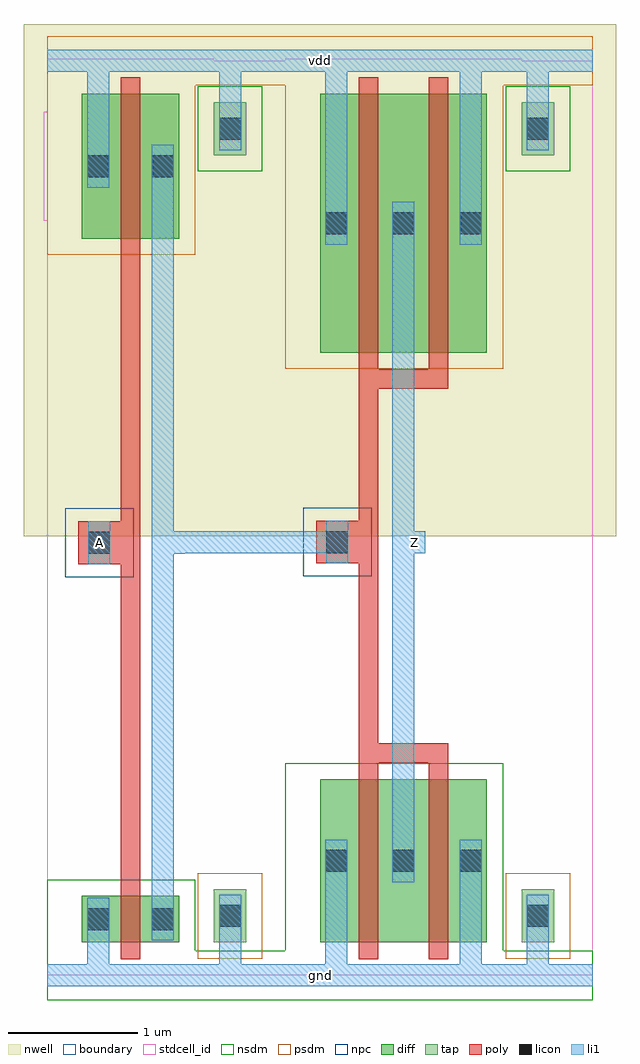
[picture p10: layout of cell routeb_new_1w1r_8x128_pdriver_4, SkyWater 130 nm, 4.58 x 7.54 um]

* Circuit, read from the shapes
.subckt routeb_new_1w1r_8x128_pdriver_4 A Z gnd vdd
XM1 routeb_new_1w1r_8x128_pinv_4_1/A A gnd gnd sky130_fd_pr__nfet_01v8 w=0.36 l=0.15
XM2 Z routeb_new_1w1r_8x128_pinv_4_1/A gnd gnd sky130_fd_pr__nfet_01v8 w=1.26 l=0.15 m=2
XM3 routeb_new_1w1r_8x128_pinv_4_1/A A vdd vdd sky130_fd_pr__pfet_01v8 w=1.12 l=0.15
XM4 Z routeb_new_1w1r_8x128_pinv_4_1/A vdd vdd sky130_fd_pr__pfet_01v8 w=2 l=0.15 m=2
.ends

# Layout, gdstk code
import gdstk
lib = gdstk.Library(unit=1e-6, precision=1e-09)
def R(c, l, rs):  # rectangles x0, y0, x1, y1
    for r in rs: c.add(gdstk.rectangle(r[:2], r[2:], *l))
def A(c, l, x, y, w, h, nx, ny, dx, dy):  # array of equal rectangles
    R(c, l, [(x+i*dx, y+j*dy, x+i*dx+w, y+j*dy+h) for i in range(nx) for j in range(ny)])
nwell = (64, 20)
diff = (65, 20)
tap = (65, 44)
poly = (66, 20)
licon = (66, 44)
li1 = (67, 20)
stdcell_id = (81, 4)
nsdm = (93, 44)
psdm = (94, 20)
npc = (95, 20)
boundary = (235, 4)

routeb_new_1w1r_8x128_co = lib.new_cell('routeb_new_1w1r_8x128_contact_11')
R(routeb_new_1w1r_8x128_co, nwell, [(-0.295,-0.255,0.545,0.585)])
R(routeb_new_1w1r_8x128_co, diff, [(0,0.02,0.25,0.31)])
R(routeb_new_1w1r_8x128_co, licon, [(0.04,0.08,0.21,0.25)])
R(routeb_new_1w1r_8x128_co, li1, [(0.04,0,0.21,0.33)])
R(routeb_new_1w1r_8x128_co, stdcell_id, [(-0.295,-0.255,0.545,0.585)])
R(routeb_new_1w1r_8x128_co, psdm, [(-0.125,-0.105,0.375,0.435)])
R(routeb_new_1w1r_8x128_co, boundary, [(-0.295,-0.255,0.545,0.585)])

routeb_new_1w1r_8x128_pm = lib.new_cell('routeb_new_1w1r_8x128_pmos_m1_w1_120_sli_dli_da_p')
R(routeb_new_1w1r_8x128_pm, nwell, [(-0.27,-0.27,1.02,1.39)])
R(routeb_new_1w1r_8x128_pm, diff, [(0,0,0.75,1.12)])
R(routeb_new_1w1r_8x128_pm, poly, [(0.3,-0.13,0.45,1.25), (0.3,-0.13,0.45,1.25)])
R(routeb_new_1w1r_8x128_pm, li1, [(0.04,0.395,0.21,0.725), (0.54,0.395,0.71,0.725)])
R(routeb_new_1w1r_8x128_pm, stdcell_id, [(-0.27,-0.27,1.02,1.39)])
R(routeb_new_1w1r_8x128_pm, psdm, [(-0.125,-0.125,0.875,1.245)])
R(routeb_new_1w1r_8x128_pm, boundary, [(-0.27,-0.27,1.02,1.39)])
routeb_new_1w1r_8x128_pm.add(gdstk.Reference(routeb_new_1w1r_8x128_co, (0,0.395)))
routeb_new_1w1r_8x128_pm.add(gdstk.Reference(routeb_new_1w1r_8x128_co, (0.5,0.395)))
routeb_new_1w1r_8x128_pm.add(gdstk.Label('G', (0.375,0.56), layer=66, texttype=5))
routeb_new_1w1r_8x128_pm.add(gdstk.Label('S', (0.125,0.56), layer=67, texttype=5))
routeb_new_1w1r_8x128_pm.add(gdstk.Label('D', (0.625,0.56), layer=67, texttype=5))

c_routeb_new_1w1r_8x128_co = lib.new_cell('routeb_new_1w1r_8x128_contact_10')
R(c_routeb_new_1w1r_8x128_co, diff, [(0,0.02,0.25,0.31)])
R(c_routeb_new_1w1r_8x128_co, licon, [(0.04,0.08,0.21,0.25)])
R(c_routeb_new_1w1r_8x128_co, li1, [(0.04,0,0.21,0.33)])
R(c_routeb_new_1w1r_8x128_co, stdcell_id, [(-0.125,-0.105,0.375,0.435)])
R(c_routeb_new_1w1r_8x128_co, nsdm, [(-0.125,-0.105,0.375,0.435)])
R(c_routeb_new_1w1r_8x128_co, boundary, [(-0.125,-0.105,0.375,0.435)])

routeb_new_1w1r_8x128_nm = lib.new_cell('routeb_new_1w1r_8x128_nmos_m1_w0_360_sli_dli_da_p')
R(routeb_new_1w1r_8x128_nm, diff, [(0,0,0.75,0.36)])
R(routeb_new_1w1r_8x128_nm, poly, [(0.3,-0.13,0.45,0.49), (0.3,-0.13,0.45,0.49)])
R(routeb_new_1w1r_8x128_nm, li1, [(0.04,0.015,0.21,0.345), (0.54,0.015,0.71,0.345)])
R(routeb_new_1w1r_8x128_nm, stdcell_id, [(-0.125,-0.13,0.875,0.49)])
R(routeb_new_1w1r_8x128_nm, nsdm, [(-0.125,-0.125,0.875,0.485)])
R(routeb_new_1w1r_8x128_nm, boundary, [(-0.125,-0.13,0.875,0.49)])
routeb_new_1w1r_8x128_nm.add(gdstk.Reference(c_routeb_new_1w1r_8x128_co, (0,0.015)))
routeb_new_1w1r_8x128_nm.add(gdstk.Reference(c_routeb_new_1w1r_8x128_co, (0.5,0.015)))
routeb_new_1w1r_8x128_nm.add(gdstk.Label('G', (0.375,0.18), layer=66, texttype=5))
routeb_new_1w1r_8x128_nm.add(gdstk.Label('S', (0.125,0.18), layer=67, texttype=5))
routeb_new_1w1r_8x128_nm.add(gdstk.Label('D', (0.625,0.18), layer=67, texttype=5))

c_routeb_new_1w1r_8x128_co_ = lib.new_cell('routeb_new_1w1r_8x128_contact_24')
R(c_routeb_new_1w1r_8x128_co_, nwell, [(-0.295,-0.215,0.545,0.625)])
R(c_routeb_new_1w1r_8x128_co_, tap, [(0,0,0.25,0.41)])
R(c_routeb_new_1w1r_8x128_co_, licon, [(0.04,0.12,0.21,0.29)])
R(c_routeb_new_1w1r_8x128_co_, li1, [(0.04,0.04,0.21,0.37)])
R(c_routeb_new_1w1r_8x128_co_, stdcell_id, [(-0.295,-0.215,0.545,0.625)])
R(c_routeb_new_1w1r_8x128_co_, nsdm, [(-0.125,-0.125,0.375,0.535)])
R(c_routeb_new_1w1r_8x128_co_, boundary, [(-0.295,-0.215,0.545,0.625)])

c_routeb_new_1w1r_8x128_co__ = lib.new_cell('routeb_new_1w1r_8x128_contact_25')
R(c_routeb_new_1w1r_8x128_co__, tap, [(0,0,0.25,0.41)])
R(c_routeb_new_1w1r_8x128_co__, licon, [(0.04,0.12,0.21,0.29)])
R(c_routeb_new_1w1r_8x128_co__, li1, [(0.04,0.04,0.21,0.37)])
R(c_routeb_new_1w1r_8x128_co__, stdcell_id, [(-0.125,-0.125,0.375,0.535)])
R(c_routeb_new_1w1r_8x128_co__, psdm, [(-0.125,-0.125,0.375,0.535)])
R(c_routeb_new_1w1r_8x128_co__, boundary, [(-0.125,-0.125,0.375,0.535)])

c_routeb_new_1w1r_8x128_co___ = lib.new_cell('routeb_new_1w1r_8x128_contact_15')
R(c_routeb_new_1w1r_8x128_co___, poly, [(0,0,0.33,0.33)])
R(c_routeb_new_1w1r_8x128_co___, licon, [(0.08,0.08,0.25,0.25)])
R(c_routeb_new_1w1r_8x128_co___, li1, [(0.08,0,0.25,0.33)])
R(c_routeb_new_1w1r_8x128_co___, stdcell_id, [(-0.1,-0.1,0.43,0.43)])
R(c_routeb_new_1w1r_8x128_co___, npc, [(-0.1,-0.1,0.43,0.43)])
R(c_routeb_new_1w1r_8x128_co___, boundary, [(-0.1,-0.1,0.43,0.43)])

routeb_new_1w1r_8x128_pi = lib.new_cell('routeb_new_1w1r_8x128_pinv_3')
R(routeb_new_1w1r_8x128_pi, nwell, [(-0.18,3.395,2.02,7.355)])
R(routeb_new_1w1r_8x128_pi, poly, [(0.57,0.745,0.72,5.565), (0.405,3.18,0.57,3.51)])
R(routeb_new_1w1r_8x128_pi, li1, [(0,-0.085,1.84,0.085), (0.31,-0.085,0.48,0.27), (1.33,0,1.5,0.46), (0.81,0.27,0.98,6.42), (0.32,3.18,0.49,3.51), (0.895,3.26,1.065,3.43), (0.31,6.09,0.48,7.155), (1.33,6.545,1.5,7.07), (0,6.985,1.84,7.155)])
R(routeb_new_1w1r_8x128_pi, stdcell_id, [(0,0,1.84,7.07), (0,0,1.84,7.07)])
R(routeb_new_1w1r_8x128_pi, nsdm, [(0,-0.19,1.84,0.19), (0,0,1.145,0.74)])
R(routeb_new_1w1r_8x128_pi, psdm, [(0,5.57,1.145,7.07), (0,6.88,1.84,7.26)])
R(routeb_new_1w1r_8x128_pi, boundary, [(0,0,1.84,7.07), (0,0,1.84,7.07)])
routeb_new_1w1r_8x128_pi.add(gdstk.Reference(routeb_new_1w1r_8x128_pm, (0.27,5.695)))
routeb_new_1w1r_8x128_pi.add(gdstk.Reference(routeb_new_1w1r_8x128_nm, (0.27,0.255)))
routeb_new_1w1r_8x128_pi.add(gdstk.Reference(c_routeb_new_1w1r_8x128_co_, (1.29,6.34)))
routeb_new_1w1r_8x128_pi.add(gdstk.Reference(c_routeb_new_1w1r_8x128_co__, (1.29,0.255)))
routeb_new_1w1r_8x128_pi.add(gdstk.Reference(c_routeb_new_1w1r_8x128_co___, (0.24,3.18)))
routeb_new_1w1r_8x128_pi.add(gdstk.Label('A', (0.405,3.345), layer=67, texttype=5))
routeb_new_1w1r_8x128_pi.add(gdstk.Label('Z', (0.98,3.345), layer=67, texttype=5))
routeb_new_1w1r_8x128_pi.add(gdstk.Label('gnd', (0.92,0), layer=67, texttype=5))
routeb_new_1w1r_8x128_pi.add(gdstk.Label('vdd', (0.92,7.07), layer=67, texttype=5))

c_routeb_new_1w1r_8x128_pm = lib.new_cell('routeb_new_1w1r_8x128_pmos_m2_w2_000_sli_dli_da_p')
R(c_routeb_new_1w1r_8x128_pm, nwell, [(-0.27,-0.27,1.56,2.27)])
R(c_routeb_new_1w1r_8x128_pm, diff, [(0,0,1.29,2)])
R(c_routeb_new_1w1r_8x128_pm, poly, [(0.3,-0.28,0.99,-0.13), (0.3,-0.13,0.45,2.13), (0.84,-0.13,0.99,2.13)])
A(c_routeb_new_1w1r_8x128_pm, li1, 0.04, 0.835, 0.17, 0.33, 3, 1, 0.52, 0)
R(c_routeb_new_1w1r_8x128_pm, stdcell_id, [(-0.27,-0.28,1.56,2.27)])
R(c_routeb_new_1w1r_8x128_pm, psdm, [(-0.125,-0.125,1.415,2.125)])
R(c_routeb_new_1w1r_8x128_pm, boundary, [(-0.27,-0.28,1.56,2.27)])
c_routeb_new_1w1r_8x128_pm.add(gdstk.Reference(routeb_new_1w1r_8x128_co, (0,0.835)))
c_routeb_new_1w1r_8x128_pm.add(gdstk.Reference(routeb_new_1w1r_8x128_co, (0.52,0.835)))
c_routeb_new_1w1r_8x128_pm.add(gdstk.Reference(routeb_new_1w1r_8x128_co, (1.04,0.835)))
c_routeb_new_1w1r_8x128_pm.add(gdstk.Label('G', (0.645,-0.205), layer=66, texttype=5))
c_routeb_new_1w1r_8x128_pm.add(gdstk.Label('S', (1.165,1), layer=67, texttype=5))
c_routeb_new_1w1r_8x128_pm.add(gdstk.Label('S', (0.125,1), layer=67, texttype=5))
c_routeb_new_1w1r_8x128_pm.add(gdstk.Label('D', (0.645,1), layer=67, texttype=5))

c_routeb_new_1w1r_8x128_nm = lib.new_cell('routeb_new_1w1r_8x128_nmos_m2_w1_260_sli_dli_da_p')
R(c_routeb_new_1w1r_8x128_nm, diff, [(0,0,1.29,1.26)])
R(c_routeb_new_1w1r_8x128_nm, poly, [(0.3,-0.13,0.45,1.39), (0.84,-0.13,0.99,1.39), (0.3,1.39,0.99,1.54)])
A(c_routeb_new_1w1r_8x128_nm, li1, 0.04, 0.465, 0.17, 0.33, 3, 1, 0.52, 0)
R(c_routeb_new_1w1r_8x128_nm, stdcell_id, [(-0.125,-0.13,1.415,1.54)])
R(c_routeb_new_1w1r_8x128_nm, nsdm, [(-0.125,-0.125,1.415,1.385)])
R(c_routeb_new_1w1r_8x128_nm, boundary, [(-0.125,-0.13,1.415,1.54)])
c_routeb_new_1w1r_8x128_nm.add(gdstk.Reference(c_routeb_new_1w1r_8x128_co, (0,0.465)))
c_routeb_new_1w1r_8x128_nm.add(gdstk.Reference(c_routeb_new_1w1r_8x128_co, (0.52,0.465)))
c_routeb_new_1w1r_8x128_nm.add(gdstk.Reference(c_routeb_new_1w1r_8x128_co, (1.04,0.465)))
c_routeb_new_1w1r_8x128_nm.add(gdstk.Label('G', (0.645,1.465), layer=66, texttype=5))
c_routeb_new_1w1r_8x128_nm.add(gdstk.Label('S', (0.125,0.63), layer=67, texttype=5))
c_routeb_new_1w1r_8x128_nm.add(gdstk.Label('S', (1.165,0.63), layer=67, texttype=5))
c_routeb_new_1w1r_8x128_nm.add(gdstk.Label('D', (0.645,0.63), layer=67, texttype=5))

c_routeb_new_1w1r_8x128_pi = lib.new_cell('routeb_new_1w1r_8x128_pinv_4')
R(c_routeb_new_1w1r_8x128_pi, nwell, [(-0.18,3.395,2.56,7.355)])
R(c_routeb_new_1w1r_8x128_pi, poly, [(0.57,1.795,0.72,4.535), (0.405,3.185,0.57,3.515)])
R(c_routeb_new_1w1r_8x128_pi, li1, [(0,-0.085,2.38,0.085), (0.31,-0.085,0.48,0.72), (1.35,-0.085,1.52,0.72), (1.87,0,2.04,0.46), (0.83,0.72,1,5.98), (0.32,3.185,0.49,3.515), (0.915,3.265,1.085,3.435), (0.31,5.65,0.48,7.155), (1.35,5.65,1.52,7.155), (1.87,6.545,2.04,7.07), (0,6.985,2.38,7.155)])
R(c_routeb_new_1w1r_8x128_pi, stdcell_id, [(0,0,2.38,7.07), (0,0,2.38,7.07)])
R(c_routeb_new_1w1r_8x128_pi, nsdm, [(0,-0.19,2.38,0.19), (0,0,1.685,1.64)])
R(c_routeb_new_1w1r_8x128_pi, psdm, [(0,4.69,1.685,7.07), (0,6.88,2.38,7.26)])
R(c_routeb_new_1w1r_8x128_pi, boundary, [(0,0,2.38,7.07), (0,0,2.38,7.07)])
c_routeb_new_1w1r_8x128_pi.add(gdstk.Reference(c_routeb_new_1w1r_8x128_pm, (0.27,4.815)))
c_routeb_new_1w1r_8x128_pi.add(gdstk.Reference(c_routeb_new_1w1r_8x128_nm, (0.27,0.255)))
c_routeb_new_1w1r_8x128_pi.add(gdstk.Reference(c_routeb_new_1w1r_8x128_co_, (1.83,6.34)))
c_routeb_new_1w1r_8x128_pi.add(gdstk.Reference(c_routeb_new_1w1r_8x128_co__, (1.83,0.255)))
c_routeb_new_1w1r_8x128_pi.add(gdstk.Reference(c_routeb_new_1w1r_8x128_co___, (0.24,3.185)))
c_routeb_new_1w1r_8x128_pi.add(gdstk.Label('A', (0.405,3.35), layer=67, texttype=5))
c_routeb_new_1w1r_8x128_pi.add(gdstk.Label('Z', (1,3.35), layer=67, texttype=5))
c_routeb_new_1w1r_8x128_pi.add(gdstk.Label('gnd', (1.19,0), layer=67, texttype=5))
c_routeb_new_1w1r_8x128_pi.add(gdstk.Label('vdd', (1.19,7.07), layer=67, texttype=5))

routeb_new_1w1r_8x128_pd = lib.new_cell('routeb_new_1w1r_8x128_pdriver_4')
R(routeb_new_1w1r_8x128_pd, nwell, [(-0.18,3.395,4.4,7.355)])
R(routeb_new_1w1r_8x128_pd, li1, [(0,-0.085,4.22,0.085), (0.32,3.18,0.49,3.51), (0.895,3.265,1.065,3.435), (0.98,3.265,2.245,3.435), (2.755,3.265,2.925,3.435), (0.895,3.345,1.065,3.35), (0,6.985,4.22,7.155)])
R(routeb_new_1w1r_8x128_pd, stdcell_id, [(0,0,4.22,7.07), (0,0,4.22,7.07)])
R(routeb_new_1w1r_8x128_pd, nsdm, [(0,-0.19,4.22,0.19)])
R(routeb_new_1w1r_8x128_pd, psdm, [(0,6.88,4.22,7.26)])
R(routeb_new_1w1r_8x128_pd, boundary, [(0,0,4.22,7.07), (0,0,4.22,7.07)])
routeb_new_1w1r_8x128_pd.add(gdstk.Reference(routeb_new_1w1r_8x128_pi, (0,0)))
routeb_new_1w1r_8x128_pd.add(gdstk.Reference(c_routeb_new_1w1r_8x128_pi, (1.84,0)))
routeb_new_1w1r_8x128_pd.add(gdstk.Label('Z', (2.84,3.35), layer=67, texttype=5))
routeb_new_1w1r_8x128_pd.add(gdstk.Label('A', (0.405,3.345), layer=67, texttype=5))
routeb_new_1w1r_8x128_pd.add(gdstk.Label('gnd', (2.11,0), layer=67, texttype=5))
routeb_new_1w1r_8x128_pd.add(gdstk.Label('vdd', (2.11,7.07), layer=67, texttype=5))

lib.write_gds('routeb_new_1w1r_8x128_pdriver_4.gds')
